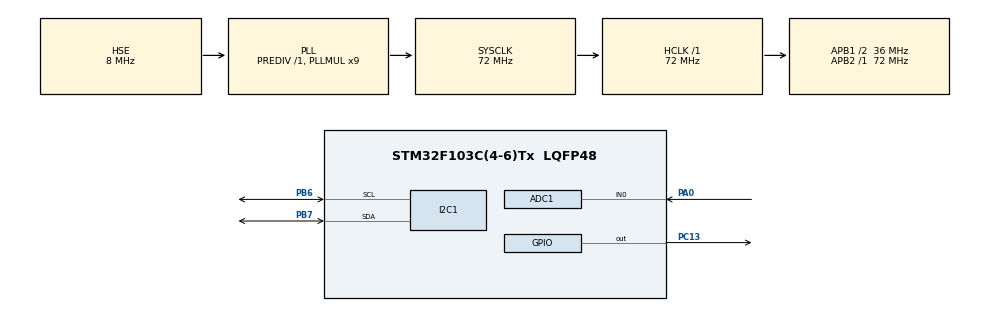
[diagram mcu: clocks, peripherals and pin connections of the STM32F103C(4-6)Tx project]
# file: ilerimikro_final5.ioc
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ADC1.Channel-0\#ChannelRegularConversion=ADC_CHANNEL_0
ADC1.ContinuousConvMode=ENABLE
ADC1.NbrOfConversionFlag=1
ADC1.Rank-0\#ChannelRegularConversion=1
ADC1.SamplingTime-0\#ChannelRegularConversion=ADC_SAMPLETIME_239CYCLES_5
ADC1.master=1
Mcu.Family=STM32F1
Mcu.Name=STM32F103C(4-6)Tx
Mcu.Package=LQFP48
NVIC.PriorityGroup=NVIC_PRIORITYGROUP_4
NVIC.TIM2_IRQn=true\:0\:0\:false\:false\:true\:true\:true\:true
PA0-WKUP.Signal=ADCx_IN0
PA13.Mode=Serial_Wire
PA13.Signal=SYS_JTMS-SWDIO
PA14.Mode=Serial_Wire
PA14.Signal=SYS_JTCK-SWCLK
PB6.GPIO_Pu=GPIO_PULLUP
PB6.Mode=I2C
PB6.Signal=I2C1_SCL
PB7.GPIO_Pu=GPIO_PULLUP
PB7.Mode=I2C
PB7.Signal=I2C1_SDA
PC13-TAMPER-RTC.Signal=GPIO_Output
PD0-OSC_IN.Mode=HSE-External-Oscillator
PD0-OSC_IN.Signal=RCC_OSC_IN
PD1-OSC_OUT.Mode=HSE-External-Oscillator
PD1-OSC_OUT.Signal=RCC_OSC_OUT
ProjectManager.HeapSize=0x200
ProjectManager.StackSize=0x400
ProjectManager.TargetToolchain=STM32CubeIDE
RCC.ADCPresc=RCC_ADCPCLK2_DIV6
RCC.AHBFreq_Value=72000000
RCC.APB1CLKDivider=RCC_HCLK_DIV2
RCC.APB1Freq_Value=36000000
RCC.APB1TimFreq_Value=72000000
RCC.APB2Freq_Value=72000000
RCC.APB2TimFreq_Value=72000000
RCC.HCLKFreq_Value=72000000
RCC.PLLMUL=RCC_PLL_MUL9
RCC.PLLSourceVirtual=RCC_PLLSOURCE_HSE
RCC.SYSCLKFreq_VALUE=72000000
RCC.SYSCLKSource=RCC_SYSCLKSOURCE_PLLCLK
RCC.USBFreq_Value=72000000
SH.ADCx_IN0.0=ADC1_IN0,IN0
TIM2.Period=10-1
TIM2.Prescaler=7200-1
VP_TIM2_VS_ClockSourceINT.Mode=Internal
board=custom

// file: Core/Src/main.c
/* USER CODE BEGIN Header */
/**
  ******************************************************************************
  * @file           : main.c
  * @brief          : Main program body
  ******************************************************************************
  * @attention
  *
  * Copyright (c) 2025 STMicroelectronics.
  * All rights reserved.
  *
  * This software is licensed under terms that can be found in the LICENSE file
  * in the root directory of this software component.
  * If no LICENSE file comes with this software, it is provided AS-IS.
  *
  ******************************************************************************
  */
/* USER CODE END Header */
#include "main.h"
#include "adc.h"
#include "i2c.h"
#include "tim.h"
#include "gpio.h"
#include "lcd_i2c.h"
#include <stdio.h>

/* USER CODE BEGIN PV */
uint16_t threshold = 0;
uint16_t threshold_offset = 40;

float filtered = 0;
float baseline = 0;

uint8_t pulse_detected = 0;

uint32_t last_beat_time = 0;
uint32_t bpm = 0;
uint32_t last_lcd_update = 0;

volatile uint16_t adc_sample = 0;
volatile uint8_t  sample_ready = 0;

volatile uint16_t adc_value = 0;
volatile uint8_t new_sample = 0;

/* USER CODE END PV */

void SystemClock_Config(void);

int main(void)
{

  /* MCU Configuration--------------------------------------------------------*/

  /* Reset of all peripherals, Initializes the Flash interface and the Systick. */
  HAL_Init();

  /* Configure the system clock */
  SystemClock_Config();

  /* Initialize all configured peripherals */
  MX_GPIO_Init();
  MX_ADC1_Init();
  MX_I2C1_Init();
  MX_TIM2_Init();
  /* USER CODE BEGIN 2 */
  /* USER CODE BEGIN 2 */

  HAL_ADC_Start(&hadc1);
  HAL_TIM_Base_Start_IT(&htim2);   //ADC'yi başlat

  lcd_init();              // LCD'yi başlat
  lcd_clear();
  lcd_goto_xy(0, 0);
  lcd_send_string("Nabiz Projesi");
  HAL_Delay(2000);
  lcd_clear();

  last_beat_time = HAL_GetTick();   // başlangıçta zaman damgasını ayarla

  /* USER CODE END 2 */

  /* Infinite loop */
  /* USER CODE BEGIN WHILE */

  /* USER CODE BEGIN WHILE */
  while (1)
  {
      if (new_sample)
      {
          new_sample = 0;

          uint32_t now = HAL_GetTick();
          if (now - last_lcd_update > 2000)
          {
              last_lcd_update = now;

              char line[16];
              lcd_goto_xy(0, 0);
              lcd_send_string("Nabiz (BPM)");

              lcd_goto_xy(0, 1);
              snprintf(line, sizeof(line), "%3lu   ", bpm);
              lcd_send_string(line);
          }
      }
  }

    /* USER CODE END WHILE */

}

void SystemClock_Config(void)
{
  RCC_OscInitTypeDef RCC_OscInitStruct = {0};
  RCC_ClkInitTypeDef RCC_ClkInitStruct = {0};
  RCC_PeriphCLKInitTypeDef PeriphClkInit = {0};

  /** Initializes the RCC Oscillators according to the specified parameters
  * in the RCC_OscInitTypeDef structure.
  */
  RCC_OscInitStruct.OscillatorType = RCC_OSCILLATORTYPE_HSE;
  RCC_OscInitStruct.HSEState = RCC_HSE_ON;
  RCC_OscInitStruct.HSEPredivValue = RCC_HSE_PREDIV_DIV1;
  RCC_OscInitStruct.HSIState = RCC_HSI_ON;
  RCC_OscInitStruct.PLL.PLLState = RCC_PLL_ON;
  RCC_OscInitStruct.PLL.PLLSource = RCC_PLLSOURCE_HSE;
  RCC_OscInitStruct.PLL.PLLMUL = RCC_PLL_MUL9;
  if (HAL_RCC_OscConfig(&RCC_OscInitStruct) != HAL_OK)
  {
    Error_Handler();
  }

  /** Initializes the CPU, AHB and APB buses clocks
  */
  RCC_ClkInitStruct.ClockType = RCC_CLOCKTYPE_HCLK|RCC_CLOCKTYPE_SYSCLK
                              |RCC_CLOCKTYPE_PCLK1|RCC_CLOCKTYPE_PCLK2;
  RCC_ClkInitStruct.SYSCLKSource = RCC_SYSCLKSOURCE_PLLCLK;
  RCC_ClkInitStruct.AHBCLKDivider = RCC_SYSCLK_DIV1;
  RCC_ClkInitStruct.APB1CLKDivider = RCC_HCLK_DIV2;
  RCC_ClkInitStruct.APB2CLKDivider = RCC_HCLK_DIV1;

  if (HAL_RCC_ClockConfig(&RCC_ClkInitStruct, FLASH_LATENCY_2) != HAL_OK)
  {
    Error_Handler();
  }
  PeriphClkInit.PeriphClockSelection = RCC_PERIPHCLK_ADC;
  PeriphClkInit.AdcClockSelection = RCC_ADCPCLK2_DIV6;
  if (HAL_RCCEx_PeriphCLKConfig(&PeriphClkInit) != HAL_OK)
  {
    Error_Handler();
  }
}

/* USER CODE BEGIN 4 */
void HAL_TIM_PeriodElapsedCallback(TIM_HandleTypeDef *htim)
{
    if (htim->Instance == TIM2)
    {

    	HAL_ADC_Start(&hadc1);

        if (HAL_ADC_PollForConversion(&hadc1, 1) == HAL_OK)
        {
            adc_value = HAL_ADC_GetValue(&hadc1);
        }

        // Filtre
        filtered = filtered * 0.85f + adc_value * 0.15f;

        // Baseline
        if (HAL_GetTick() < 1500)
            baseline = baseline * 0.80f + filtered * 0.20f;
        else
            baseline = baseline * 0.99f + filtered * 0.01f;

        threshold = baseline + threshold_offset;

        uint32_t now = HAL_GetTick();

        if (!pulse_detected && filtered > threshold)
        {
            pulse_detected = 1;

            uint32_t delta = now - last_beat_time;
            last_beat_time = now;

            if (delta > 400 && delta < 1700)
                bpm = 60000 / delta;

            HAL_GPIO_WritePin(GPIOC, GPIO_PIN_13, GPIO_PIN_SET);
        }

        if (pulse_detected && filtered < baseline)
        {
            pulse_detected = 0;
            HAL_GPIO_WritePin(GPIOC, GPIO_PIN_13, GPIO_PIN_RESET);
        }

        if ((now - last_beat_time) > 2500)
        {
            bpm = 0;
            HAL_GPIO_WritePin(GPIOC, GPIO_PIN_13, GPIO_PIN_RESET);
        }

        new_sample = 1; // ana döngüye haber
    }
}

/* USER CODE END 4 */

void Error_Handler(void)
{
  __disable_irq();
  while (1)
  {
  }
}
